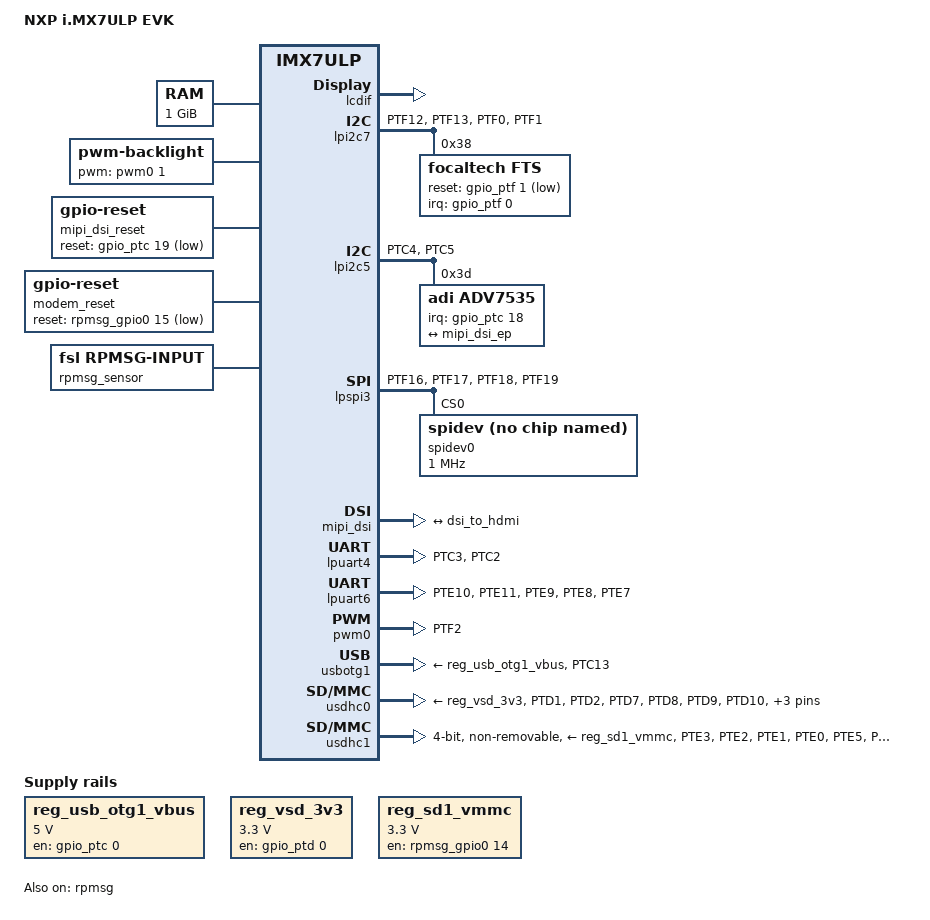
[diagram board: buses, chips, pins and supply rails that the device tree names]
/*
 * Copyright 2016 Freescale Semiconductor, Inc.
 * Copyright 2017-2018 NXP.
 *
 * This program is free software; you can redistribute it and/or modify
 * it under the terms of the GNU General Public License version 2 as
 * published by the Free Software Foundation.
 */

/dts-v1/;

#include "imx7ulp.dtsi"
#include <dt-bindings/input/input.h>

/ {
	model = "NXP i.MX7ULP EVK";
	compatible = "fsl,imx7ulp-evk", "fsl,imx7ulp", "Generic DT based system";

	aliases {
		gpio4 = &rpmsg_gpio0;
		gpio5 = &rpmsg_gpio1;
	};

	chosen {
		stdout-path = &lpuart4;
	};

	memory {
		device_type = "memory";
		reg = <0x60000000 0x40000000>;
	};

	backlight {
		compatible = "pwm-backlight";
		pwms = <&pwm0 1 50000>;
		brightness-levels = <0 20 25 30 35 40 100>;
		default-brightness-level = <6>;
		status = "okay";
	};

	mipi_dsi_reset: mipi-dsi-reset {
		compatible = "gpio-reset";
		reset-gpios = <&gpio_ptc 19 GPIO_ACTIVE_LOW>;
		reset-delay-us = <1000>;
		#reset-cells = <0>;
	};

	modem_reset: modem-reset {
		compatible = "gpio-reset";
		reset-gpios = <&rpmsg_gpio0 15 GPIO_ACTIVE_LOW>;
		reset-delay-us = <1000>;
		#reset-cells = <0>;
	};

	regulators {
		compatible = "simple-bus";
		#address-cells = <1>;
		#size-cells = <0>;

		reg_usb_otg1_vbus: regulator@0 {
			compatible = "regulator-fixed";
			reg = <0>;
			pinctrl-names = "default", "sleep";
			pinctrl-0 = <&pinctrl_usbotg1_vbus>;
			pinctrl-1 = <&pinctrl_usbotg1_vbus>;
			regulator-name = "usb_otg1_vbus";
			regulator-min-microvolt = <5000000>;
			regulator-max-microvolt = <5000000>;
			gpio = <&gpio_ptc 0 GPIO_ACTIVE_HIGH>;
			enable-active-high;
		};

		reg_vsd_3v3: regulator@1 {
			compatible = "regulator-fixed";
			reg = <1>;
			regulator-name = "VSD_3V3";
			regulator-min-microvolt = <3300000>;
			regulator-max-microvolt = <3300000>;
			gpio = <&gpio_ptd 0 GPIO_ACTIVE_HIGH>;
			off-on-delay = <20000>;
			enable-active-high;
		};

		reg_sd1_vmmc: sd1_regulator {
			compatible = "regulator-fixed";
			regulator-name = "WLAN_EN";
			regulator-min-microvolt = <3300000>;
			regulator-max-microvolt = <3300000>;
			gpio = <&rpmsg_gpio0 14 GPIO_ACTIVE_HIGH>;
			off-on-delay = <20000>;
			startup-delay-us = <100>;
			enable-active-high;
		};
	};

	pf1550-rpmsg {
		compatible = "fsl,pf1550-rpmsg";
		sw1_reg: SW1 {
				regulator-name = "SW1";
				regulator-min-microvolt = <600000>;
				regulator-max-microvolt = <1387500>;
				regulator-boot-on;
				regulator-always-on;
		};

		sw2_reg: SW2 {
				regulator-name = "SW2";
				regulator-min-microvolt = <600000>;
				regulator-max-microvolt = <1387500>;
				regulator-boot-on;
				regulator-always-on;
		};

		sw3_reg: SW3 {
				regulator-name = "SW3";
				regulator-min-microvolt = <1800000>;
				regulator-max-microvolt = <3300000>;
				regulator-boot-on;
				regulator-always-on;
		};

		vref_reg: VREFDDR {
				regulator-name = "VREFDDR";
				regulator-min-microvolt = <1200000>;
				regulator-max-microvolt = <1200000>;
				regulator-boot-on;
				regulator-always-on;
		};

		vldo1_reg: LDO1 {
				regulator-name = "LDO1";
				regulator-min-microvolt = <750000>;
				regulator-max-microvolt = <3300000>;
				regulator-always-on;
		};

		vldo2_reg: LDO2 {
				regulator-name = "LDO2";
				regulator-min-microvolt = <1800000>;
				regulator-max-microvolt = <3300000>;
				regulator-always-on;
		};

		vldo3_reg: LDO3 {
				regulator-name = "LDO3";
				regulator-min-microvolt = <750000>;
				regulator-max-microvolt = <3300000>;
				regulator-always-on;
		};
	};

	rpmsg_i2s: rpmsg-i2s {
		compatible = "fsl,imx7ulp-rpmsg-i2s";
		/* the audio device index in m4 domain */
		fsl,audioindex = <0> ;
		status = "okay";
	};

	rpmsg_gpio0: rpmsg-gpio0 {
		compatible = "fsl,imx-rpmsg-gpio";
		port_idx = <0>;
		gpio-controller;
		#gpio-cells = <2>;
		#interrupt-cells = <2>;
		interrupt-controller;
		interrupt-parent = <&rpmsg_gpio0>;
		status = "okay";
	};

	rpmsg_gpio1: rpmsg-gpio1 {
		compatible = "fsl,imx-rpmsg-gpio";
		port_idx = <1>;
		gpio-controller;
		#gpio-cells = <2>;
		#interrupt-cells = <2>;
		interrupt-controller;
		interrupt-parent = <&rpmsg_gpio1>;
		status = "okay";
	};

	rpmsg_keys: rpmsg-keys {
		compatible = "fsl,rpmsg-keys";

		volume-up {
			label = "Volume Up";
			linux,code = <KEY_VOLUMEUP>;
		};

		volume-down {
			label = "Volume Down";
			linux,code = <KEY_VOLUMEDOWN>;
		};

		power-on {
			label = "PowerOn";
			linux,code = <KEY_POWER>;
			rpmsg-key,wakeup;
		};
	};

	rpmsg_sensor: rpmsg-sensor {
		compatible = "fsl,rpmsg-input";
	};

	sound-rpmsg {
		compatible = "fsl,imx-audio-rpmsg";
		model = "rpmsg-audio";
		cpu-dai = <&rpmsg_i2s>;
		rpmsg-out;
		rpmsg-in;
	};
};

&cpu0 {
	arm-supply= <&sw1_reg>;
};

&iomuxc1 {
	pinctrl-names = "default";
	pinctrl-0 = <&pinctrl_hog_1>;

	imx7ulp-evk {
		pinctrl_hog_1: hoggrp-1 {
			fsl,pins = <
				IMX7ULP_PAD_PTC1__PTC1		0x20000
			>;
		};

		pinctrl_pwm0: pwm0_grp {
			fsl,pins = <
				IMX7ULP_PAD_PTF2__TPM4_CH1	0x3
			>;
		};

		pinctrl_lpi2c5: lpi2c5grp {
			fsl,pins = <
				IMX7ULP_PAD_PTC4__LPI2C5_SCL	0x27
				IMX7ULP_PAD_PTC5__LPI2C5_SDA	0x27
			>;
		};

		pinctrl_mipi_dsi_reset: mipi_dsi_reset_grp {
			fsl,pins = <
				IMX7ULP_PAD_PTC19__PTC19	0x20003
			>;
		};

		pinctrl_lpuart4: lpuart4grp {
			fsl,pins = <
				IMX7ULP_PAD_PTC3__LPUART4_RX	0x3
				IMX7ULP_PAD_PTC2__LPUART4_TX	0x3
			>;
		};

		pinctrl_lpuart6: lpuart6grp {
			fsl,pins = <
				IMX7ULP_PAD_PTE10__LPUART6_TX	0x3
				IMX7ULP_PAD_PTE11__LPUART6_RX	0x3
				IMX7ULP_PAD_PTE9__LPUART6_RTS_B	0x3
				IMX7ULP_PAD_PTE8__LPUART6_CTS_B	0x3
				IMX7ULP_PAD_PTE7__PTE7		0x20000	/* BT_REG_ON */
			>;
		};

		pinctrl_lpuart7: lpuart7grp {
			fsl,pins = <
				IMX7ULP_PAD_PTF14__LPUART7_TX		0x3
				IMX7ULP_PAD_PTF15__LPUART7_RX		0x3
				IMX7ULP_PAD_PTF13__LPUART7_RTS_B	0x3
				IMX7ULP_PAD_PTF12__LPUART7_CTS_B	0x3
			>;
		};

		pinctrl_usdhc0: usdhc0grp {
			fsl,pins = <
				IMX7ULP_PAD_PTD1__SDHC0_CMD	0x43
				IMX7ULP_PAD_PTD2__SDHC0_CLK	0x10042
				IMX7ULP_PAD_PTD7__SDHC0_D3	0x43
				IMX7ULP_PAD_PTD8__SDHC0_D2	0x43
				IMX7ULP_PAD_PTD9__SDHC0_D1	0x43
				IMX7ULP_PAD_PTD10__SDHC0_D0	0x43
				IMX7ULP_PAD_PTC10__PTC10	0x10000	/* USDHC0 CD */
				IMX7ULP_PAD_PTD0__PTD0		0x20000	/* USDHC0 RST */
			>;
		};

		pinctrl_usdhc0_8bit: usdhc0grp_8bit {
			fsl,pins = <
				IMX7ULP_PAD_PTD1__SDHC0_CMD	0x43
				IMX7ULP_PAD_PTD2__SDHC0_CLK	0x10042
				IMX7ULP_PAD_PTD3__SDHC0_D7	0x43
				IMX7ULP_PAD_PTD4__SDHC0_D6	0x43
				IMX7ULP_PAD_PTD5__SDHC0_D5	0x43
				IMX7ULP_PAD_PTD6__SDHC0_D4	0x43
				IMX7ULP_PAD_PTD7__SDHC0_D3	0x43
				IMX7ULP_PAD_PTD8__SDHC0_D2	0x43
				IMX7ULP_PAD_PTD9__SDHC0_D1	0x43
				IMX7ULP_PAD_PTD10__SDHC0_D0	0x43
				IMX7ULP_PAD_PTD11__SDHC0_DQS	0x42
			>;
		};

		pinctrl_lpi2c7: lpi2c7grp {
			fsl,pins = <
				IMX7ULP_PAD_PTF12__LPI2C7_SCL	0x27
				IMX7ULP_PAD_PTF13__LPI2C7_SDA	0x27
			>;
		};

		pinctrl_lpspi3: lpspi3grp {
			fsl,pins = <
				IMX7ULP_PAD_PTF16__LPSPI3_SIN	0x0
				IMX7ULP_PAD_PTF17__LPSPI3_SOUT	0x0
				IMX7ULP_PAD_PTF18__LPSPI3_SCK	0x0
				IMX7ULP_PAD_PTF19__LPSPI3_PCS0	0x0
			>;
		};

		pinctrl_usbotg1_vbus: otg1vbusgrp {
			fsl,pins = <
				IMX7ULP_PAD_PTC0__PTC0		0x20000
			>;
		};

		pinctrl_usbotg1_id: otg1idgrp {
			fsl,pins = <
				IMX7ULP_PAD_PTC13__USB0_ID	0x10003
			>;
		};

		pinctrl_focaltech: focaltechgrp {
			fsl,pins = <
				IMX7ULP_PAD_PTF0__PTF0		0x10043
				IMX7ULP_PAD_PTF1__PTF1		0x20043
			>;
		};

		pinctrl_usdhc1: usdhc1grp {
			fsl,pins = <
				IMX7ULP_PAD_PTE3__SDHC1_CMD	0x43
				IMX7ULP_PAD_PTE2__SDHC1_CLK	0x10042
				IMX7ULP_PAD_PTE1__SDHC1_D0	0x43
				IMX7ULP_PAD_PTE0__SDHC1_D1	0x43
				IMX7ULP_PAD_PTE5__SDHC1_D2	0x43
				IMX7ULP_PAD_PTE4__SDHC1_D3	0x43
			>;
		};

		pinctrl_usdhc1_rst: usdhc1grp_rst {
			fsl,pins = <
				IMX7ULP_PAD_PTE11__PTE11	0x20000	/* USDHC1 RST */
				IMX7ULP_PAD_PTE13__PTE13	0x10003	/* USDHC1 CD */
				IMX7ULP_PAD_PTE12__PTE12	0x10003	/* USDHC1 WP */
				IMX7ULP_PAD_PTE14__SDHC1_VS	0x43	/* USDHC1 VSEL */
			>;
		};

		pinctrl_dsi_hdmi: dsi_hdmi_grp {
			fsl,pins = <
				IMX7ULP_PAD_PTC18__PTC18	0x10003	/* DSI_HDMI_INT */
			>;
		};
	};
};

&lcdif {
	status = "okay";
	disp-dev = "mipi_dsi_northwest";
	display = <&display0>;

	display0: display@0 {
		bits-per-pixel = <16>;
		bus-width = <24>;

		display-timings {
			native-mode = <&timing0>;
			timing0: timing0 {
			clock-frequency = <9200000>;
			hactive = <480>;
			vactive = <272>;
			hfront-porch = <8>;
			hback-porch = <4>;
			hsync-len = <41>;
			vback-porch = <2>;
			vfront-porch = <4>;
			vsync-len = <10>;

			hsync-active = <0>;
			vsync-active = <0>;
			de-active = <1>;
			pixelclk-active = <0>;
			};
		};
	};
};

&lpi2c7 {
	#address-cells = <1>;
	#size-cells = <0>;
	pinctrl-names = "default",  "sleep";
	pinctrl-0 = <&pinctrl_lpi2c7 &pinctrl_focaltech>;
	pinctrl-1 = <&pinctrl_lpi2c7 &pinctrl_focaltech>;
	status = "okay";

	focaltech@38 {
		compatible = "focaltech,fts";
		reg = <0x38>;
		interrupt-parent = <&gpio_ptf>;
		interrupts = <0 0x02>;
		focaltech,panel-type = <FT5426>;
		focaltech,reset-gpio = <&gpio_ptf 1 0x01>;
		focaltech,irq-gpio = <&gpio_ptf 0 0x02>;
		focaltech,max-touch-number = <5>;
		focaltech,display-coords =  <0 0 480 854>;

		focaltech,have-key;
		focaltech,key-number = <3>;
		focaltech,keys = <139 102 158>;
		focaltech,key-y-coord = <2000>;
		focaltech,key-x-coords = <200 600 800>;
	};
};

&lpi2c5 {
	#address-cells = <1>;
	#size-cells = <0>;
	pinctrl-names = "default", "sleep";
	pinctrl-0 = <&pinctrl_lpi2c5>;
	pinctrl-1 = <&pinctrl_lpi2c5>;
	status = "okay";

	adv7535: adv7535@3d {
		compatible = "adi,adv7535";
		reg = <0x3d>; /* PD pin is low */
		pinctrl-names = "default";
		pinctrl-0 = <&pinctrl_dsi_hdmi>;
		interrupt-parent = <&gpio_ptc>;
		interrupts = <18 IRQ_TYPE_EDGE_FALLING>;
		video-mode = <1>; /*
						   * Only support CEA modes.
						   * Reference mxc_edid.c
						   */
		dsi-traffic-mode = <0>;
		bpp = <24>;
		status = "disabled";
	};
};

&lpspi3 {
	#address-cells = <1>;
	#size-cells = <0>;
	pinctrl-names = "default", "sleep";
	pinctrl-0 = <&pinctrl_lpspi3>;
	pinctrl-1 = <&pinctrl_lpspi3>;
	status = "okay";

	spidev0: spi@0 {
		reg = <0>;
		compatible = "rohm,dh2228fv";
		spi-max-frequency = <1000000>;
	};
};


&adv7535 {
	status = "okay";

	port {
		dsi_to_hdmi: endpoint {
			remote-endpoint = <&mipi_dsi_ep>;
		};
	};
};

&mipi_dsi {
	status = "okay";

	port {
		mipi_dsi_ep: endpoint {
			remote-endpoint = <&dsi_to_hdmi>;
		};
	};
};

&lpuart4 { /* console */
	pinctrl-names = "default", "sleep";
	pinctrl-0 = <&pinctrl_lpuart4>;
	pinctrl-1 = <&pinctrl_lpuart4>;
	status = "okay";
};

&lpuart6 { /* BT */
	pinctrl-names = "default", "sleep";
	pinctrl-0 = <&pinctrl_lpuart6>;
	pinctrl-1 = <&pinctrl_lpuart6>;
	resets = <&modem_reset>;
	status = "okay";
};

&lpuart7 { /* Uart test */
	pinctrl-names = "default", "sleep";
	pinctrl-0 = <&pinctrl_lpuart7>;
	pinctrl-1 = <&pinctrl_lpuart7>;
	status = "disabled";
};

&pwm0 {
	pinctrl-names = "default", "sleep";
	pinctrl-0 = <&pinctrl_pwm0>;
	pinctrl-1 = <&pinctrl_pwm0>;
	status = "okay";
};

&rpmsg{
	/*
	 * 64K for one rpmsg instance, default using 2 rpmsg instances:
	 * --0x9FF00000~0x9FF0FFFF: pmic,pm,audio,keys,gpio,sensor
	 * --0x9FF10000~0x9FF1FFFF: pingpong,virtual tty
	 */
	vdev-nums = <2>;
	reg = <0x9FF00000 0x20000>;
	status = "okay";
};

&usbotg1 {
	vbus-supply = <&reg_usb_otg1_vbus>;
	pinctrl-names = "default", "sleep";
	pinctrl-0 = <&pinctrl_usbotg1_id>;
	pinctrl-1 = <&pinctrl_usbotg1_id>;
	srp-disable;
	hnp-disable;
	adp-disable;
	status = "okay";
};

&usbphy1 {
	fsl,tx-d-cal = <88>;
};

&usdhc0 {
	pinctrl-names = "default", "state_100mhz", "state_200mhz", "sleep";
	pinctrl-0 = <&pinctrl_usdhc0>;
	pinctrl-1 = <&pinctrl_usdhc0>;
	pinctrl-2 = <&pinctrl_usdhc0>;
	pinctrl-3 = <&pinctrl_usdhc0>;
	cd-gpios = <&gpio_ptc 10 GPIO_ACTIVE_LOW>;
	vmmc-supply = <&reg_vsd_3v3>;
	vqmmc-supply = <&vldo2_reg>;
	status = "okay";
};

&usdhc1 {
	pinctrl-names = "default", "sleep";
	pinctrl-0 = <&pinctrl_usdhc1>;
	pinctrl-1 = <&pinctrl_usdhc1>;
	bus-width = <4>;
	no-1-8-v;
	vmmc-supply = <&reg_sd1_vmmc>;
	pm-ignore-notify;
	keep-power-in-suspend;
	non-removable;
	status = "okay";
};
